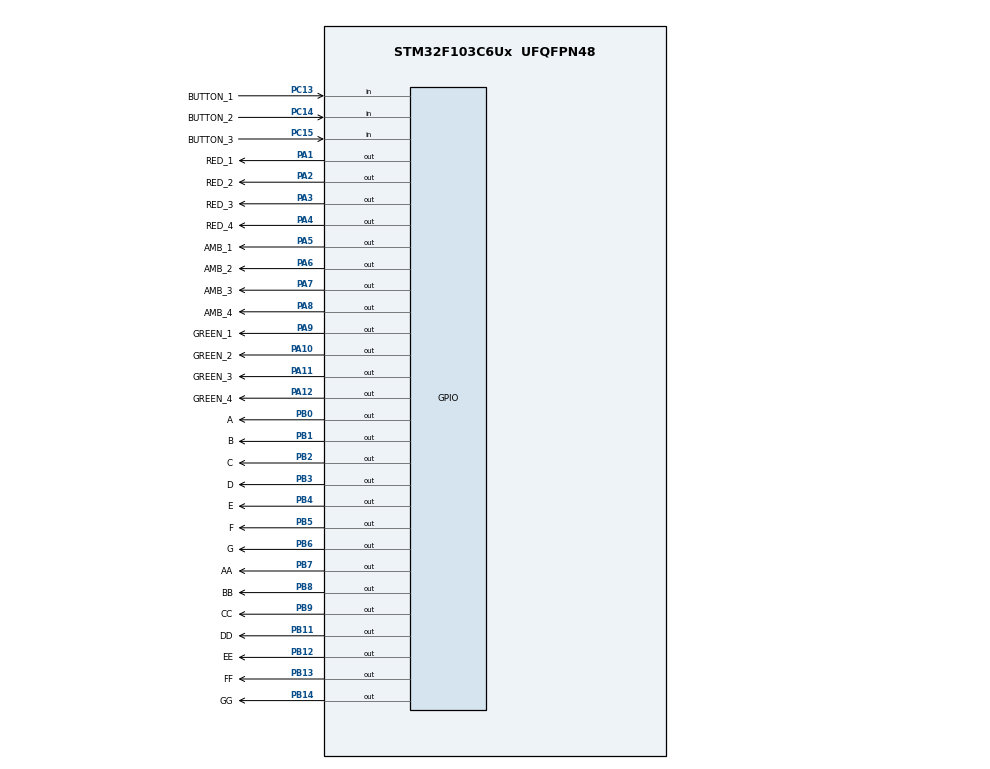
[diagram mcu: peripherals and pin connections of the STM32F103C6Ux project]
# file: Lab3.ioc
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Mcu.Family=STM32F1
Mcu.Name=STM32F103C6Ux
Mcu.Package=UFQFPN48
NVIC.PriorityGroup=NVIC_PRIORITYGROUP_4
NVIC.TIM2_IRQn=true\:0\:0\:false\:false\:true\:true\:true\:true
PA1.GPIO_Label=RED_1
PA1.Signal=GPIO_Output
PA10.GPIO_Label=GREEN_2
PA10.Signal=GPIO_Output
PA11.GPIO_Label=GREEN_3
PA11.Signal=GPIO_Output
PA12.GPIO_Label=GREEN_4
PA12.Signal=GPIO_Output
PA2.GPIO_Label=RED_2
PA2.Signal=GPIO_Output
PA3.GPIO_Label=RED_3
PA3.Signal=GPIO_Output
PA4.GPIO_Label=RED_4
PA4.Signal=GPIO_Output
PA5.GPIO_Label=AMB_1
PA5.Signal=GPIO_Output
PA6.GPIO_Label=AMB_2
PA6.Signal=GPIO_Output
PA7.GPIO_Label=AMB_3
PA7.Signal=GPIO_Output
PA8.GPIO_Label=AMB_4
PA8.Signal=GPIO_Output
PA9.GPIO_Label=GREEN_1
PA9.Signal=GPIO_Output
PB0.GPIO_Label=A
PB0.Signal=GPIO_Output
PB1.GPIO_Label=B
PB1.Signal=GPIO_Output
PB11.GPIO_Label=DD
PB11.Signal=GPIO_Output
PB12.GPIO_Label=EE
PB12.Signal=GPIO_Output
PB13.GPIO_Label=FF
PB13.Signal=GPIO_Output
PB14.GPIO_Label=GG
PB14.Signal=GPIO_Output
PB2.GPIO_Label=C
PB2.Signal=GPIO_Output
PB3.GPIO_Label=D
PB3.Signal=GPIO_Output
PB4.GPIO_Label=E
PB4.Signal=GPIO_Output
PB5.GPIO_Label=F
PB5.Signal=GPIO_Output
PB6.GPIO_Label=G
PB6.Signal=GPIO_Output
PB7.GPIO_Label=AA
PB7.Signal=GPIO_Output
PB8.GPIO_Label=BB
PB8.Signal=GPIO_Output
PB9.GPIO_Label=CC
PB9.Signal=GPIO_Output
PC13-TAMPER-RTC.GPIO_Label=BUTTON_1
PC13-TAMPER-RTC.GPIO_PuPd=GPIO_PULLUP
PC13-TAMPER-RTC.Signal=GPIO_Input
PC14-OSC32_IN.GPIO_Label=BUTTON_2
PC14-OSC32_IN.GPIO_PuPd=GPIO_PULLUP
PC14-OSC32_IN.Signal=GPIO_Input
PC15-OSC32_OUT.GPIO_Label=BUTTON_3
PC15-OSC32_OUT.GPIO_PuPd=GPIO_PULLUP
PC15-OSC32_OUT.Signal=GPIO_Input
ProjectManager.HeapSize=0x200
ProjectManager.StackSize=0x400
ProjectManager.TargetToolchain=STM32CubeIDE
RCC.APB1Freq_Value=8000000
RCC.APB2Freq_Value=8000000
TIM2.Period=9
TIM2.Prescaler=7999
VP_SYS_VS_ND.Mode=No_Debug
VP_TIM2_VS_ClockSourceINT.Mode=Internal
board=custom

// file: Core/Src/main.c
/* USER CODE BEGIN Header */
/**
 ******************************************************************************
 * @file           : main.c
 * @brief          : Main program body
 ******************************************************************************
 * @attention
 *
 * Copyright (c) 2024 STMicroelectronics.
 * All rights reserved.
 *
 * This software is licensed under terms that can be found in the LICENSE file
 * in the root directory of this software component.
 * If no LICENSE file comes with this software, it is provided AS-IS.
 *
 ******************************************************************************
 */
/* USER CODE END Header */
#include "main.h"

/* USER CODE BEGIN Includes */
#include "software_timer.h"
#include "Button.h"
/* USER CODE END Includes */

TIM_HandleTypeDef htim2;

/* USER CODE BEGIN PV */
const int digitConfig[][7] = {
    // A, B, C, D, E, F, G, DP
    {1, 1, 1, 1, 1, 1, 0}, // 0
    {0, 1, 1, 0, 0, 0, 0}, // 1
    {1, 1, 0, 1, 1, 0, 1}, // 2
    {1, 1, 1, 1, 0, 0, 1}, // 3
    {0, 1, 1, 0, 0, 1, 1}, // 4
    {1, 0, 1, 1, 0, 1, 1}, // 5
    {1, 0, 1, 1, 1, 1, 1}, // 6
    {1, 1, 1, 0, 0, 0, 0}, // 7
    {1, 1, 1, 1, 1, 1, 1}, // 8
    {1, 1, 1, 1, 0, 1, 1}  // 9
};
const int DOT_COUNTER = 100, LED_SWITCH_COUNTER = 25, CLOCK_COUNTER = 100;
int hour = 15, minute = 12, second = 37;
/* USER CODE END PV */

void SystemClock_Config(void);
static void MX_GPIO_Init(void);
static void MX_TIM2_Init(void);
void display7SEG1(int);
void display7SEG2(int);
void setAllLED();

int main(void)
{

  /* MCU Configuration--------------------------------------------------------*/

  /* Reset of all peripherals, Initializes the Flash interface and the Systick. */
  HAL_Init();

  /* Configure the system clock */
  SystemClock_Config();

  /* Initialize all configured peripherals */
  MX_GPIO_Init();
  MX_TIM2_Init();
  /* USER CODE BEGIN 2 */
  HAL_TIM_Base_Start_IT(&htim2);
  /* USER CODE END 2 */

  /* Infinite loop */
  /* USER CODE BEGIN WHILE */
  //* INITIAL SETUP *//
  int count_StateButton1 = 0;
  int count = 0;
  int time_LEDRED = 5;
  int time_LEDAMB = 3;
  int time_LEDGREEN = 2;

  setTimer0(50);
  setTimer1(50);
  setTimer2(50);

  int GREEN_total = 0;
  int AMB_total = 0;
  int RED_total = 0;

  setTimer_GREEN(50);
  setTimer_AMB(50);
  setTimer_RED(50);

  int state_GREEN = 0;
  int state_AMB = 0;
  int state_RED = 0;

  display7SEG1(0);
  display7SEG2(0);
  setAllLED();

  while (1)
  {
    /* USER CODE END WHILE */
    if (button1_flag == 1)
    {
      if (button1_flag != button1_flagRelease && button1_flagRelease == 0)
      {
        count_StateButton1++;
        setAllLED();
        if (count_StateButton1 > 4)
        {
          count_StateButton1 = 1;
        }
      }
      display7SEG1(count_StateButton1);
      button1_flagRelease = button1_flag;
      button1_flag = 0;
      count = 0;
    }
    if (count_StateButton1 == 1)
    {
      display7SEG1(time_LEDRED);
      display7SEG2(time_LEDAMB);
    }
    if (count_StateButton1 == 2)
    {
      if (timer0_flag == 1)
      {
        HAL_GPIO_TogglePin(RED_1_GPIO_Port, RED_1_Pin);
        HAL_GPIO_TogglePin(RED_2_GPIO_Port, RED_2_Pin);
        HAL_GPIO_TogglePin(RED_3_GPIO_Port, RED_3_Pin);
        HAL_GPIO_TogglePin(RED_4_GPIO_Port, RED_4_Pin);
        setTimer0(50);
      }
      if (button2_flag == 1)
      {
        button2_flag = 0;
        count += 1;
        state_RED = 0;
      }
      RED_total = time_LEDRED + count;
      if (RED_total >= 100)
      {
        time_LEDRED = 0;
        count = 0;
      }
      if (RED_total > 9 && RED_total <= 99)
      {
        if (RED_flag == 1)
        {
          if (state_RED == 0)
          {
            display7SEG2(RED_total / 10);
            state_RED = 1;
          }
          else
          {
            display7SEG2(RED_total % 10);
            state_RED = 0;
          }
          setTimer_RED(50);
        }
      }
      if (RED_total <= 9)
      {
        display7SEG2(RED_total);
      }

      if (button3_flag == 1)
      {
        if (button3_flag != button3_flagRelease && button3_flagRelease == 0)
        {
          time_LEDRED = time_LEDRED + count;
          count = 0;
        }
        button3_flagRelease = button3_flag;
        button3_flag = 0;
      }
    }
    if (count_StateButton1 == 3)
    {
      if (timer2_flag == 1)
      {
        HAL_GPIO_TogglePin(AMB_1_GPIO_Port, AMB_1_Pin);
        HAL_GPIO_TogglePin(AMB_2_GPIO_Port, AMB_2_Pin);
        HAL_GPIO_TogglePin(AMB_3_GPIO_Port, AMB_3_Pin);
        HAL_GPIO_TogglePin(AMB_4_GPIO_Port, AMB_4_Pin);
        setTimer2(50);
      }
      if (button2_flag == 1)
      {
        button2_flag = 0;
        count += 1;
        state_AMB == 0;
      }
      AMB_total = time_LEDAMB + count;
      if (AMB_total >= 100)
      {
        time_LEDAMB = 0;
        count = 0;
      }
      if (AMB_total > 9 && AMB_total <= 99)
      {
        if (AMB_flag == 1)
        {
          if (state_AMB == 0)
          {
            display7SEG2(AMB_total / 10);
            state_AMB = 1;
          }
          else
          {
            display7SEG2(AMB_total % 10);
            state_AMB = 0;
          }
          setTimer_AMB(50);
        }
      }
      if (AMB_total <= 9)
      {
        display7SEG2(AMB_total);
      }

      if (button3_flag == 1)
      {
        if (button3_flag != button3_flagRelease && button3_flagRelease == 0)
        {
          time_LEDAMB = time_LEDAMB + count;
          count = 0;
        }
        button3_flagRelease = button3_flag;
        button3_flag = 0;
      }
    }
    if (count_StateButton1 == 4)
    {
      if (timer1_flag == 1)
      {
        HAL_GPIO_TogglePin(GREEN_1_GPIO_Port, GREEN_1_Pin);
        HAL_GPIO_TogglePin(GREEN_2_GPIO_Port, GREEN_2_Pin);
        HAL_GPIO_TogglePin(GREEN_3_GPIO_Port, GREEN_3_Pin);
        HAL_GPIO_TogglePin(GREEN_4_GPIO_Port, GREEN_4_Pin);
        setTimer1(50);
      }
      if (button2_flag == 1)
      {
        button2_flag = 0;
        count += 1;
        state_GREEN == 0;
      }
      GREEN_total = time_LEDGREEN + count;
      if (GREEN_total >= 100)
      {
        time_LEDGREEN = 0;
        count = 0;
      }
      if (GREEN_total > 9 && GREEN_total <= 99)
      {
        if (GREEN_flag == 1)
        {
          if (state_GREEN == 0)
          {
            display7SEG2(GREEN_total / 10);
            state_GREEN = 1;
          }
          else
          {
            display7SEG2(GREEN_total % 10);
            state_GREEN = 0;
          }
          setTimer_GREEN(50);
        }
      }
      if (GREEN_total <= 9)
      {
        display7SEG2(GREEN_total);
      }

      if (button3_flag == 1)
      {
        if (button3_flag != button3_flagRelease && button3_flagRelease == 0)
        {
          time_LEDGREEN = time_LEDGREEN + count;
          count = 0;
        }
        button3_flagRelease = button3_flag;
        button3_flag = 0;
      }
    }
  }
}

void SystemClock_Config(void)
{
  RCC_OscInitTypeDef RCC_OscInitStruct = {0};
  RCC_ClkInitTypeDef RCC_ClkInitStruct = {0};

  /** Initializes the RCC Oscillators according to the specified parameters
   * in the RCC_OscInitTypeDef structure.
   */
  RCC_OscInitStruct.OscillatorType = RCC_OSCILLATORTYPE_HSI;
  RCC_OscInitStruct.HSIState = RCC_HSI_ON;
  RCC_OscInitStruct.HSICalibrationValue = RCC_HSICALIBRATION_DEFAULT;
  RCC_OscInitStruct.PLL.PLLState = RCC_PLL_NONE;
  if (HAL_RCC_OscConfig(&RCC_OscInitStruct) != HAL_OK)
  {
    Error_Handler();
  }

  /** Initializes the CPU, AHB and APB buses clocks
   */
  RCC_ClkInitStruct.ClockType = RCC_CLOCKTYPE_HCLK | RCC_CLOCKTYPE_SYSCLK | RCC_CLOCKTYPE_PCLK1 | RCC_CLOCKTYPE_PCLK2;
  RCC_ClkInitStruct.SYSCLKSource = RCC_SYSCLKSOURCE_HSI;
  RCC_ClkInitStruct.AHBCLKDivider = RCC_SYSCLK_DIV1;
  RCC_ClkInitStruct.APB1CLKDivider = RCC_HCLK_DIV1;
  RCC_ClkInitStruct.APB2CLKDivider = RCC_HCLK_DIV1;

  if (HAL_RCC_ClockConfig(&RCC_ClkInitStruct, FLASH_LATENCY_0) != HAL_OK)
  {
    Error_Handler();
  }
}

static void MX_TIM2_Init(void)
{

  TIM_ClockConfigTypeDef sClockSourceConfig = {0};
  TIM_MasterConfigTypeDef sMasterConfig = {0};

  htim2.Instance = TIM2;
  htim2.Init.Prescaler = 7999;
  htim2.Init.CounterMode = TIM_COUNTERMODE_UP;
  htim2.Init.Period = 9;
  htim2.Init.ClockDivision = TIM_CLOCKDIVISION_DIV1;
  htim2.Init.AutoReloadPreload = TIM_AUTORELOAD_PRELOAD_DISABLE;
  if (HAL_TIM_Base_Init(&htim2) != HAL_OK)
  {
    Error_Handler();
  }
  sClockSourceConfig.ClockSource = TIM_CLOCKSOURCE_INTERNAL;
  if (HAL_TIM_ConfigClockSource(&htim2, &sClockSourceConfig) != HAL_OK)
  {
    Error_Handler();
  }
  sMasterConfig.MasterOutputTrigger = TIM_TRGO_RESET;
  sMasterConfig.MasterSlaveMode = TIM_MASTERSLAVEMODE_DISABLE;
  if (HAL_TIMEx_MasterConfigSynchronization(&htim2, &sMasterConfig) != HAL_OK)
  {
    Error_Handler();
  }
}

static void MX_GPIO_Init(void)
{
  GPIO_InitTypeDef GPIO_InitStruct = {0};

  /* GPIO Ports Clock Enable */
  __HAL_RCC_GPIOC_CLK_ENABLE();
  __HAL_RCC_GPIOA_CLK_ENABLE();
  __HAL_RCC_GPIOB_CLK_ENABLE();

  /*Configure GPIO pin Output Level */
  HAL_GPIO_WritePin(GPIOA, RED_1_Pin | RED_2_Pin | RED_3_Pin | RED_4_Pin | AMB_1_Pin | AMB_2_Pin | AMB_3_Pin | AMB_4_Pin | GREEN_1_Pin | GREEN_2_Pin | GREEN_3_Pin | GREEN_4_Pin, GPIO_PIN_RESET);

  /*Configure GPIO pin Output Level */
  HAL_GPIO_WritePin(GPIOB, A_Pin | B_Pin | C_Pin | DD_Pin | EE_Pin | FF_Pin | GG_Pin | D_Pin | E_Pin | F_Pin | G_Pin | AA_Pin | BB_Pin | CC_Pin, GPIO_PIN_RESET);

  /*Configure GPIO pins : BUTTON_1_Pin BUTTON_2_Pin BUTTON_3_Pin */
  GPIO_InitStruct.Pin = BUTTON_1_Pin | BUTTON_2_Pin | BUTTON_3_Pin;
  GPIO_InitStruct.Mode = GPIO_MODE_INPUT;
  GPIO_InitStruct.Pull = GPIO_PULLUP;
  HAL_GPIO_Init(GPIOC, &GPIO_InitStruct);

  /*Configure GPIO pins : RED_1_Pin RED_2_Pin RED_3_Pin RED_4_Pin
                           AMB_1_Pin AMB_2_Pin AMB_3_Pin AMB_4_Pin
                           GREEN_1_Pin GREEN_2_Pin GREEN_3_Pin GREEN_4_Pin */
  GPIO_InitStruct.Pin = RED_1_Pin | RED_2_Pin | RED_3_Pin | RED_4_Pin | AMB_1_Pin | AMB_2_Pin | AMB_3_Pin | AMB_4_Pin | GREEN_1_Pin | GREEN_2_Pin | GREEN_3_Pin | GREEN_4_Pin;
  GPIO_InitStruct.Mode = GPIO_MODE_OUTPUT_PP;
  GPIO_InitStruct.Pull = GPIO_NOPULL;
  GPIO_InitStruct.Speed = GPIO_SPEED_FREQ_LOW;
  HAL_GPIO_Init(GPIOA, &GPIO_InitStruct);

  /*Configure GPIO pins : A_Pin B_Pin C_Pin DD_Pin
                           EE_Pin FF_Pin GG_Pin D_Pin
                           E_Pin F_Pin G_Pin AA_Pin
                           BB_Pin CC_Pin */
  GPIO_InitStruct.Pin = A_Pin | B_Pin | C_Pin | DD_Pin | EE_Pin | FF_Pin | GG_Pin | D_Pin | E_Pin | F_Pin | G_Pin | AA_Pin | BB_Pin | CC_Pin;
  GPIO_InitStruct.Mode = GPIO_MODE_OUTPUT_PP;
  GPIO_InitStruct.Pull = GPIO_NOPULL;
  GPIO_InitStruct.Speed = GPIO_SPEED_FREQ_LOW;
  HAL_GPIO_Init(GPIOB, &GPIO_InitStruct);

}

/* USER CODE BEGIN 4 */
void setAllLED()
{
  HAL_GPIO_WritePin(RED_1_GPIO_Port, RED_1_Pin, SET);
  HAL_GPIO_WritePin(RED_1_GPIO_Port, RED_2_Pin, SET);
  HAL_GPIO_WritePin(RED_1_GPIO_Port, RED_3_Pin, SET);
  HAL_GPIO_WritePin(RED_1_GPIO_Port, RED_4_Pin, SET);

  HAL_GPIO_WritePin(AMB_1_GPIO_Port, AMB_1_Pin, SET);
  HAL_GPIO_WritePin(AMB_2_GPIO_Port, AMB_2_Pin, SET);
  HAL_GPIO_WritePin(AMB_3_GPIO_Port, AMB_3_Pin, SET);
  HAL_GPIO_WritePin(AMB_4_GPIO_Port, AMB_4_Pin, SET);

  HAL_GPIO_WritePin(GREEN_1_GPIO_Port, GREEN_1_Pin, SET);
  HAL_GPIO_WritePin(GREEN_2_GPIO_Port, GREEN_2_Pin, SET);
  HAL_GPIO_WritePin(GREEN_3_GPIO_Port, GREEN_3_Pin, SET);
  HAL_GPIO_WritePin(GREEN_4_GPIO_Port, GREEN_4_Pin, SET);
}
void display7SEG1(int num)
{
  if (num < 0 || num >= 100)
  {
    return;
  }
  const int *config = digitConfig[num];

  HAL_GPIO_WritePin(A_GPIO_Port, A_Pin, config[0] ? GPIO_PIN_RESET : GPIO_PIN_SET);
  HAL_GPIO_WritePin(B_GPIO_Port, B_Pin, config[1] ? GPIO_PIN_RESET : GPIO_PIN_SET);
  HAL_GPIO_WritePin(C_GPIO_Port, C_Pin, config[2] ? GPIO_PIN_RESET : GPIO_PIN_SET);
  HAL_GPIO_WritePin(D_GPIO_Port, D_Pin, config[3] ? GPIO_PIN_RESET : GPIO_PIN_SET);
  HAL_GPIO_WritePin(E_GPIO_Port, E_Pin, config[4] ? GPIO_PIN_RESET : GPIO_PIN_SET);
  HAL_GPIO_WritePin(F_GPIO_Port, F_Pin, config[5] ? GPIO_PIN_RESET : GPIO_PIN_SET);
  HAL_GPIO_WritePin(G_GPIO_Port, G_Pin, config[6] ? GPIO_PIN_RESET : GPIO_PIN_SET);
}
void display7SEG2(int num)
{
  if (num < 0 || num > 9)
  {
    return;
  }
  const int *config = digitConfig[num];

  HAL_GPIO_WritePin(AA_GPIO_Port, AA_Pin, config[0] ? GPIO_PIN_RESET : GPIO_PIN_SET);
  HAL_GPIO_WritePin(BB_GPIO_Port, BB_Pin, config[1] ? GPIO_PIN_RESET : GPIO_PIN_SET);
  HAL_GPIO_WritePin(CC_GPIO_Port, CC_Pin, config[2] ? GPIO_PIN_RESET : GPIO_PIN_SET);
  HAL_GPIO_WritePin(DD_GPIO_Port, DD_Pin, config[3] ? GPIO_PIN_RESET : GPIO_PIN_SET);
  HAL_GPIO_WritePin(EE_GPIO_Port, EE_Pin, config[4] ? GPIO_PIN_RESET : GPIO_PIN_SET);
  HAL_GPIO_WritePin(FF_GPIO_Port, FF_Pin, config[5] ? GPIO_PIN_RESET : GPIO_PIN_SET);
  HAL_GPIO_WritePin(GG_GPIO_Port, GG_Pin, config[6] ? GPIO_PIN_RESET : GPIO_PIN_SET);
}
void HAL_TIM_PeriodElapsedCallback(TIM_HandleTypeDef *htim)
{
  timerRun();
  getKeyInput();
}
/* USER CODE END 4 */

void Error_Handler(void)
{
  __disable_irq();
  while (1)
  {
  }
}
